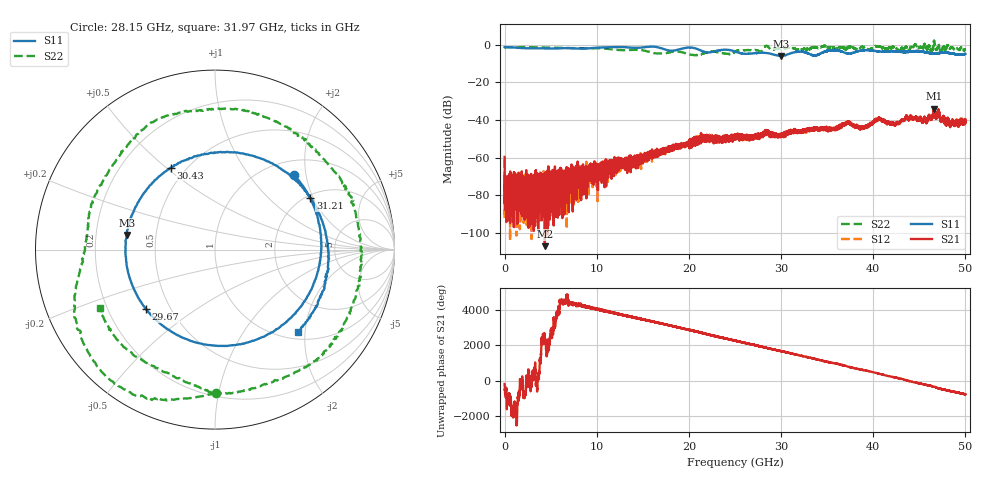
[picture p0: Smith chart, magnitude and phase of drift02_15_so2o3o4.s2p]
!Created with skrf (http://scikit-rf.org).
# Hz S RI R 50.0
!freq ReS11 ImS11 ReS21 ImS21 ReS12 ImS12 ReS22 ImS22
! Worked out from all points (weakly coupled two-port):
!   10001 points, 300 kHz to 50 GHz, reference 50 ohm
!   highest |S21| = -33.96 dB at 46.63 GHz (marker M1); lowest = -107.0 dB at 4.365 GHz (marker M2)
!   lowest |S11| = -6.1 dB at 30.04 GHz (marker M3), VSWR 2.98, Z = 16.9 + j3.63 ohm
!   |S11| at or under -10 dB: nowhere
!   |S22| runs from -5.7 to 2.2 dB; largest |S21 - S12| = 0.0037
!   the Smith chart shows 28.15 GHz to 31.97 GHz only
!   S11 on the Smith chart (normalised r, x): 28.15 GHz: 1.30, +1.71; 29.67 GHz: 0.37, -0.33; 30.43 GHz: 0.42, +0.52; 31.21 GHz: 2.10, +1.90; 31.97 GHz: 1.16, -1.84
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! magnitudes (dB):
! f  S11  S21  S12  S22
! 300 kHz  -1.3  -59.6  -60.9  -2.1
! 260.3 MHz  -1.4  -70.8  -75.0  -1.4
! 4.365 GHz  -2.0  -107.0  -79.3  -1.6
! 8.335 GHz  -2.2  -70.4  -70.9  -1.9
! 16.67 GHz  -1.5  -56.7  -58.2  -4.7
! 21.77 GHz  -4.0  -50.0  -49.9  -4.4
! 25 GHz  -3.7  -48.8  -49.0  -3.9
! 28.15 GHz  -4.4  -46.6  -47.2  -2.0
! 29.67 GHz  -5.9  -49.0  -48.7  -2.1
! 30.04 GHz  -6.1  -47.5  -47.9  -2.1
! 30.43 GHz  -5.7  -48.2  -47.6  -1.9
! 31.21 GHz  -4.4  -46.2  -46.6  -1.8
! 31.97 GHz  -3.7  -46.3  -45.9  -2.8
! 33.34 GHz  -5.5  -44.4  -44.9  -1.6
! 35.6 GHz  -2.9  -45.1  -44.7  -1.6
! 37.29 GHz  -4.7  -41.7  -41.4  -1.4
! 38.83 GHz  -3.1  -44.8  -44.1  -1.2
! 40.59 GHz  -3.6  -39.3  -39.2  -1.0
! 41.67 GHz  -3.6  -40.7  -41.3  -1.9
! 46.63 GHz  -4.7  -34.0  -34.7  1.9
! 48.54 GHz  -4.7  -41.3  -40.2  -1.6
! 50 GHz  -5.0  -39.8  -41.3  -2.6
